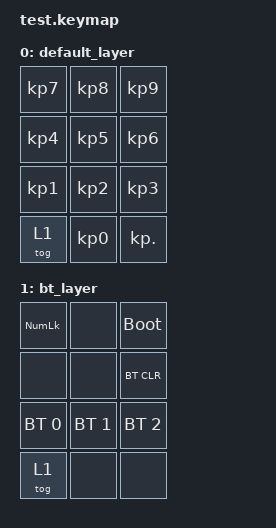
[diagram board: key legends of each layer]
#include <behaviors.dtsi>
#include <dt-bindings/zmk/keys.h>
#include <dt-bindings/zmk/bt.h>

/ {
    keymap {
        compatible = "zmk,keymap";

        // Layer 0: Default Numpad (with NumLock toggle)
        default_layer {
            bindings = <
                &kp KP_N7  &kp KP_N8  &kp KP_N9
                &kp KP_N4  &kp KP_N5  &kp KP_N6
                &kp KP_N1  &kp KP_N2  &kp KP_N3
                &tog 1     &kp KP_N0  &kp KP_DOT  // Bottom row
            >;
        };

        // Layer 1: Bluetooth & System (activated by bottom-left key)
        bt_layer {
            bindings = <
                &kp KP_NUMLOCK &none      &bootloader
                &none          &none      &bt BT_CLR
                &bt BT_SEL 0   &bt BT_SEL 1 &bt BT_SEL 2
                &tog 1         &none      &none
            >;
        };
    };
};
